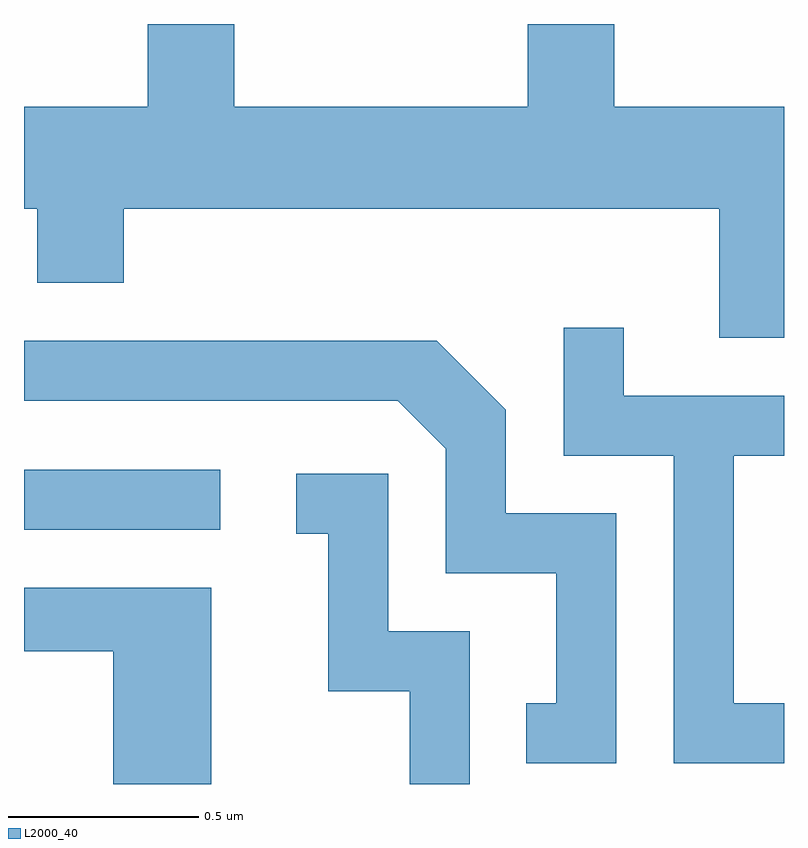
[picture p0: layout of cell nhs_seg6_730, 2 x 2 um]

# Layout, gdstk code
import gdstk
lib = gdstk.Library(unit=1e-6, precision=1e-09)
def R(c, l, rs):  # rectangles x0, y0, x1, y1
    for r in rs: c.add(gdstk.rectangle(r[:2], r[2:], *l))
def P(c, l, *ps):  # polygons
    for p in ps: c.add(gdstk.Polygon(p, *l))
L2000_40 = (2000, 40)

nhs_seg6_730 = lib.new_cell('nhs_seg6_730')
R(nhs_seg6_730, L2000_40, [(190.611,1575.831,191.128,1575.989)])
P(nhs_seg6_730, L2000_40, [(192.611,1576.944),(192.164,1576.944),(192.164,1577.162),(191.936,1577.162),(191.936,1576.944),(191.164,1576.944),(191.164,1577.162),(190.936,1577.162),(190.936,1576.944),(190.611,1576.944),(190.611,1576.676),(190.646,1576.676),(190.646,1576.481),(190.874,1576.481),(190.874,1576.676),(192.441,1576.676),(192.441,1576.336),(192.611,1576.336)],
  [(192.611,1575.374),(192.479,1575.374),(192.479,1576.026),(192.611,1576.026),(192.611,1576.184),(192.189,1576.184),(192.189,1576.363),(192.031,1576.363),(192.031,1576.026),(192.321,1576.026),(192.321,1575.216),(192.611,1575.216)],
  [(192.169,1575.874),(191.879,1575.874),(191.879,1576.147),(191.697,1576.329),(190.611,1576.329),(190.611,1576.171),(191.594,1576.171),(191.721,1576.044),(191.721,1575.716),(192.011,1575.716),(192.011,1575.374),(191.933,1575.374),(191.933,1575.216),(192.169,1575.216)],
  [(191.784,1575.564),(191.569,1575.564),(191.569,1575.979),(191.328,1575.979),(191.328,1575.821),(191.411,1575.821),(191.411,1575.406),(191.626,1575.406),(191.626,1575.162),(191.784,1575.162)],
  [(191.104,1575.679),(190.611,1575.679),(190.611,1575.511),(190.846,1575.511),(190.846,1575.162),(191.104,1575.162)])

lib.write_gds('nhs_seg6_730.gds')
